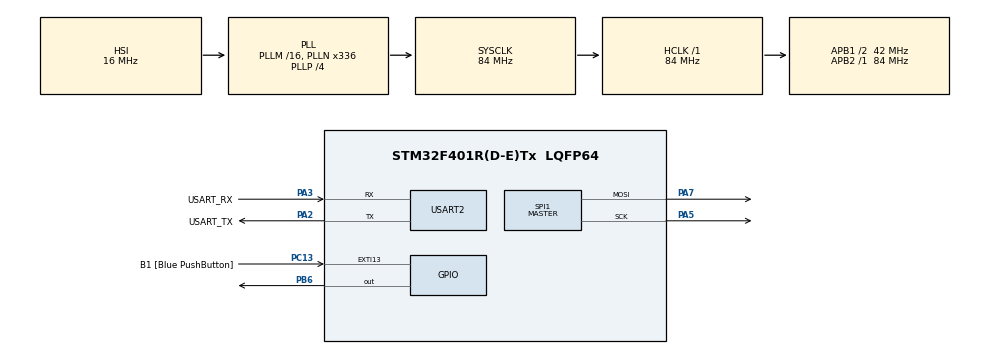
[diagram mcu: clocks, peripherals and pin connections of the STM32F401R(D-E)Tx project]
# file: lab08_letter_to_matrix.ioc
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Mcu.Family=STM32F4
Mcu.Name=STM32F401R(D-E)Tx
Mcu.Package=LQFP64
NVIC.PriorityGroup=NVIC_PRIORITYGROUP_0
NVIC.SPI1_IRQn=true\:0\:0\:false\:false\:true\:true\:true\:true
NVIC.TIM1_UP_TIM10_IRQn=true\:0\:0\:false\:false\:true\:true\:true\:true
PA13.GPIO_Label=TMS
PA13.Mode=Serial_Wire
PA13.Signal=SYS_JTMS-SWDIO
PA14.GPIO_Label=TCK
PA14.Mode=Serial_Wire
PA14.Signal=SYS_JTCK-SWCLK
PA2.GPIO_Label=USART_TX
PA2.GPIO_Mode=GPIO_MODE_AF_PP
PA2.GPIO_PuPd=GPIO_NOPULL
PA2.GPIO_Speed=GPIO_SPEED_FREQ_LOW
PA2.Mode=Asynchronous
PA2.Signal=USART2_TX
PA3.GPIO_Label=USART_RX
PA3.GPIO_Mode=GPIO_MODE_AF_PP
PA3.GPIO_PuPd=GPIO_NOPULL
PA3.GPIO_Speed=GPIO_SPEED_FREQ_LOW
PA3.Mode=Asynchronous
PA3.Signal=USART2_RX
PA5.Mode=TX_Only_Simplex_Unidirect_Master
PA5.Signal=SPI1_SCK
PA7.Mode=TX_Only_Simplex_Unidirect_Master
PA7.Signal=SPI1_MOSI
PB3.GPIO_Label=SWO
PB3.Signal=SYS_JTDO-SWO
PB6.Signal=GPIO_Output
PC13-ANTI_TAMP.GPIO_Label=B1 [Blue PushButton]
PC13-ANTI_TAMP.GPIO_ModeDefaultEXTI=GPIO_MODE_IT_FALLING
PC13-ANTI_TAMP.GPIO_PuPd=GPIO_NOPULL
PC13-ANTI_TAMP.Signal=GPXTI13
PC14-OSC32_IN.Mode=LSE-External-Oscillator
PC14-OSC32_IN.Signal=RCC_OSC32_IN
PC15-OSC32_OUT.Mode=LSE-External-Oscillator
PC15-OSC32_OUT.Signal=RCC_OSC32_OUT
PH0\ -\ OSC_IN.Mode=HSE-External-Clock-Source
PH0\ -\ OSC_IN.Signal=RCC_OSC_IN
PH1\ -\ OSC_OUT.Mode=HSE-External-Clock-Source
PH1\ -\ OSC_OUT.Signal=RCC_OSC_OUT
ProjectManager.HeapSize=0x200
ProjectManager.StackSize=0x400
ProjectManager.TargetToolchain=STM32CubeIDE
RCC.48MHZClocksFreq_Value=48000000
RCC.AHBFreq_Value=84000000
RCC.APB1CLKDivider=RCC_HCLK_DIV2
RCC.APB1Freq_Value=42000000
RCC.APB1TimFreq_Value=84000000
RCC.APB2Freq_Value=84000000
RCC.APB2TimFreq_Value=84000000
RCC.CortexFreq_Value=84000000
RCC.HCLKFreq_Value=84000000
RCC.HSE_VALUE=8000000
RCC.HSI_VALUE=16000000
RCC.PLLN=336
RCC.PLLP=RCC_PLLP_DIV4
RCC.PLLQ=7
RCC.SYSCLKFreq_VALUE=84000000
RCC.SYSCLKSource=RCC_SYSCLKSOURCE_PLLCLK
RCC.VCOOutputFreq_Value=336000000
SPI1.BaudRatePrescaler=SPI_BAUDRATEPRESCALER_4
SPI1.Direction=SPI_DIRECTION_2LINES
SPI1.Mode=SPI_MODE_MASTER
SPI1.VirtualType=VM_MASTER
TIM10.Channel=TIM_CHANNEL_1
TIM10.Period=40-1
TIM10.Prescaler=8400-1
USART2.VirtualMode=VM_ASYNC
VP_TIM10_VS_ClockSourceINT.Mode=Enable_Timer
VP_TIM10_VS_no_output1.Mode=PWM Generation1 No Output
board=NUCLEO-F401RE

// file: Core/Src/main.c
/* USER CODE BEGIN Header */
/**
  ******************************************************************************
  * @file           : main.c
  * @brief          : Main program body
  ******************************************************************************
  * @attention
  *
  * Copyright (c) 2023 STMicroelectronics.
  * All rights reserved.
  *
  * This software is licensed under terms that can be found in the LICENSE file
  * in the root directory of this software component.
  * If no LICENSE file comes with this software, it is provided AS-IS.
  *
  ******************************************************************************
  */
/* USER CODE END Header */
#include "main.h"

/* USER CODE BEGIN PD */
#define RCLK_PIN GPIOB, GPIO_PIN_6
/* USER CODE END PD */

SPI_HandleTypeDef hspi1;

TIM_HandleTypeDef htim10;

UART_HandleTypeDef huart2;

/* USER CODE BEGIN PV */
int column_index = 0;

uint8_t matrix_A[5][2] = {
	  {31,16},
	  {36, 8},
	  {68, 4},
	  {36, 2},
	  {31, 1}
};
/* USER CODE END PV */

void SystemClock_Config(void);
static void MX_GPIO_Init(void);
static void MX_USART2_UART_Init(void);
static void MX_SPI1_Init(void);
static void MX_TIM10_Init(void);
/* USER CODE BEGIN PFP */
void HAL_TIM_PeriodElapsedCallback(TIM_HandleTypeDef *htim);
/* USER CODE END PFP */

int main(void)
{

  /* MCU Configuration--------------------------------------------------------*/

  /* Reset of all peripherals, Initializes the Flash interface and the Systick. */
  HAL_Init();

  /* Configure the system clock */
  SystemClock_Config();

  /* Initialize all configured peripherals */
  MX_GPIO_Init();
  MX_USART2_UART_Init();
  MX_SPI1_Init();
  MX_TIM10_Init();
  /* USER CODE BEGIN 2 */
  HAL_TIM_Base_Start_IT(&htim10);
  /* USER CODE END 2 */

  /* Infinite loop */
  while (1)
  {

  }
}

void SystemClock_Config(void)
{
  RCC_OscInitTypeDef RCC_OscInitStruct = {0};
  RCC_ClkInitTypeDef RCC_ClkInitStruct = {0};

  /** Configure the main internal regulator output voltage
  */
  __HAL_RCC_PWR_CLK_ENABLE();
  __HAL_PWR_VOLTAGESCALING_CONFIG(PWR_REGULATOR_VOLTAGE_SCALE2);

  /** Initializes the RCC Oscillators according to the specified parameters
  * in the RCC_OscInitTypeDef structure.
  */
  RCC_OscInitStruct.OscillatorType = RCC_OSCILLATORTYPE_HSI;
  RCC_OscInitStruct.HSIState = RCC_HSI_ON;
  RCC_OscInitStruct.HSICalibrationValue = RCC_HSICALIBRATION_DEFAULT;
  RCC_OscInitStruct.PLL.PLLState = RCC_PLL_ON;
  RCC_OscInitStruct.PLL.PLLSource = RCC_PLLSOURCE_HSI;
  RCC_OscInitStruct.PLL.PLLM = 16;
  RCC_OscInitStruct.PLL.PLLN = 336;
  RCC_OscInitStruct.PLL.PLLP = RCC_PLLP_DIV4;
  RCC_OscInitStruct.PLL.PLLQ = 7;
  if (HAL_RCC_OscConfig(&RCC_OscInitStruct) != HAL_OK)
  {
    Error_Handler();
  }

  /** Initializes the CPU, AHB and APB buses clocks
  */
  RCC_ClkInitStruct.ClockType = RCC_CLOCKTYPE_HCLK|RCC_CLOCKTYPE_SYSCLK
                              |RCC_CLOCKTYPE_PCLK1|RCC_CLOCKTYPE_PCLK2;
  RCC_ClkInitStruct.SYSCLKSource = RCC_SYSCLKSOURCE_PLLCLK;
  RCC_ClkInitStruct.AHBCLKDivider = RCC_SYSCLK_DIV1;
  RCC_ClkInitStruct.APB1CLKDivider = RCC_HCLK_DIV2;
  RCC_ClkInitStruct.APB2CLKDivider = RCC_HCLK_DIV1;

  if (HAL_RCC_ClockConfig(&RCC_ClkInitStruct, FLASH_LATENCY_2) != HAL_OK)
  {
    Error_Handler();
  }
}

static void MX_SPI1_Init(void)
{

  /* SPI1 parameter configuration*/
  hspi1.Instance = SPI1;
  hspi1.Init.Mode = SPI_MODE_MASTER;
  hspi1.Init.Direction = SPI_DIRECTION_2LINES;
  hspi1.Init.DataSize = SPI_DATASIZE_8BIT;
  hspi1.Init.CLKPolarity = SPI_POLARITY_LOW;
  hspi1.Init.CLKPhase = SPI_PHASE_1EDGE;
  hspi1.Init.NSS = SPI_NSS_SOFT;
  hspi1.Init.BaudRatePrescaler = SPI_BAUDRATEPRESCALER_4;
  hspi1.Init.FirstBit = SPI_FIRSTBIT_MSB;
  hspi1.Init.TIMode = SPI_TIMODE_DISABLE;
  hspi1.Init.CRCCalculation = SPI_CRCCALCULATION_DISABLE;
  hspi1.Init.CRCPolynomial = 10;
  if (HAL_SPI_Init(&hspi1) != HAL_OK)
  {
    Error_Handler();
  }

}

static void MX_TIM10_Init(void)
{

  TIM_OC_InitTypeDef sConfigOC = {0};

  htim10.Instance = TIM10;
  htim10.Init.Prescaler = 8400-1;
  htim10.Init.CounterMode = TIM_COUNTERMODE_UP;
  htim10.Init.Period = 40-1;
  htim10.Init.ClockDivision = TIM_CLOCKDIVISION_DIV1;
  htim10.Init.AutoReloadPreload = TIM_AUTORELOAD_PRELOAD_DISABLE;
  if (HAL_TIM_Base_Init(&htim10) != HAL_OK)
  {
    Error_Handler();
  }
  if (HAL_TIM_PWM_Init(&htim10) != HAL_OK)
  {
    Error_Handler();
  }
  sConfigOC.OCMode = TIM_OCMODE_PWM1;
  sConfigOC.Pulse = 0;
  sConfigOC.OCPolarity = TIM_OCPOLARITY_HIGH;
  sConfigOC.OCFastMode = TIM_OCFAST_DISABLE;
  if (HAL_TIM_PWM_ConfigChannel(&htim10, &sConfigOC, TIM_CHANNEL_1) != HAL_OK)
  {
    Error_Handler();
  }

}

static void MX_USART2_UART_Init(void)
{

  huart2.Instance = USART2;
  huart2.Init.BaudRate = 115200;
  huart2.Init.WordLength = UART_WORDLENGTH_8B;
  huart2.Init.StopBits = UART_STOPBITS_1;
  huart2.Init.Parity = UART_PARITY_NONE;
  huart2.Init.Mode = UART_MODE_TX_RX;
  huart2.Init.HwFlowCtl = UART_HWCONTROL_NONE;
  huart2.Init.OverSampling = UART_OVERSAMPLING_16;
  if (HAL_UART_Init(&huart2) != HAL_OK)
  {
    Error_Handler();
  }

}

static void MX_GPIO_Init(void)
{
  GPIO_InitTypeDef GPIO_InitStruct = {0};

  /* GPIO Ports Clock Enable */
  __HAL_RCC_GPIOC_CLK_ENABLE();
  __HAL_RCC_GPIOH_CLK_ENABLE();
  __HAL_RCC_GPIOA_CLK_ENABLE();
  __HAL_RCC_GPIOB_CLK_ENABLE();

  /*Configure GPIO pin Output Level */
  HAL_GPIO_WritePin(GPIOB, GPIO_PIN_6, GPIO_PIN_RESET);

  /*Configure GPIO pin : B1_Pin */
  GPIO_InitStruct.Pin = B1_Pin;
  GPIO_InitStruct.Mode = GPIO_MODE_IT_FALLING;
  GPIO_InitStruct.Pull = GPIO_NOPULL;
  HAL_GPIO_Init(B1_GPIO_Port, &GPIO_InitStruct);

  /*Configure GPIO pin : PB6 */
  GPIO_InitStruct.Pin = GPIO_PIN_6;
  GPIO_InitStruct.Mode = GPIO_MODE_OUTPUT_PP;
  GPIO_InitStruct.Pull = GPIO_NOPULL;
  GPIO_InitStruct.Speed = GPIO_SPEED_FREQ_LOW;
  HAL_GPIO_Init(GPIOB, &GPIO_InitStruct);

}

/* USER CODE BEGIN 4 */
void HAL_TIM_PeriodElapsedCallback(TIM_HandleTypeDef *htim) {
	if(htim != &htim10) return;

	HAL_SPI_Transmit(&hspi1, matrix_A[column_index], sizeof(matrix_A[column_index]), 10);
	HAL_GPIO_WritePin(RCLK_PIN, GPIO_PIN_SET);		// manually trigger RCLK pin
	column_index++;
	if(column_index > 4) column_index = 0;
	HAL_GPIO_WritePin(RCLK_PIN, GPIO_PIN_RESET);
}
/* USER CODE END 4 */

void Error_Handler(void)
{
  __disable_irq();
  while (1)
  {
  }
}
